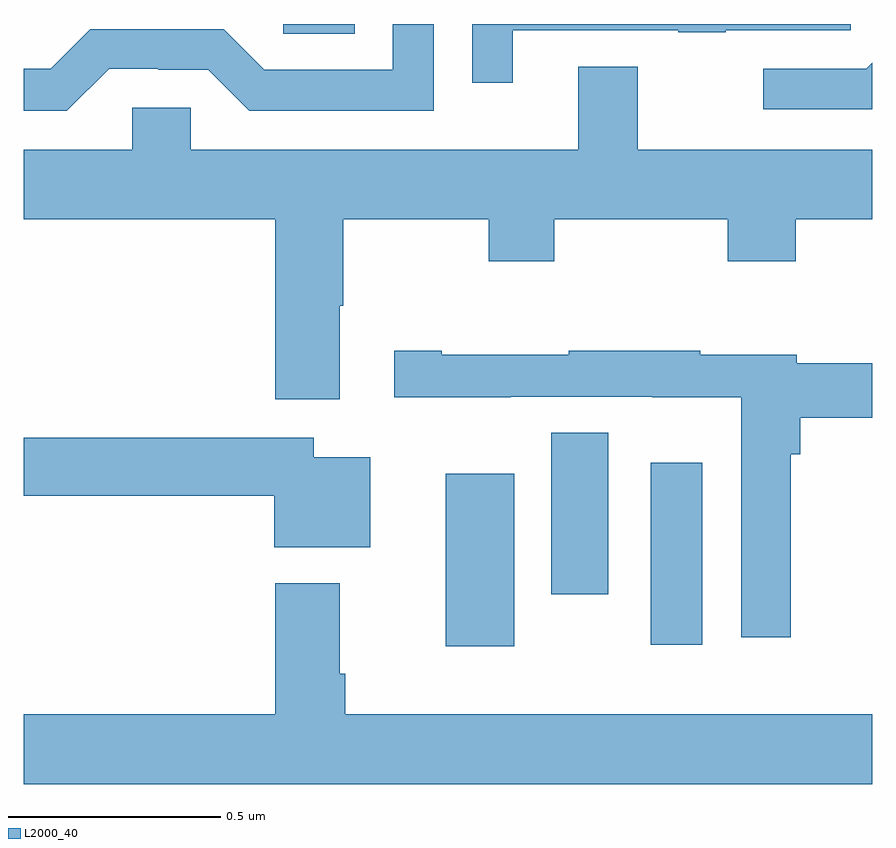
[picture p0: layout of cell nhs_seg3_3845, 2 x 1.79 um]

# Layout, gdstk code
import gdstk
lib = gdstk.Library(unit=1e-6, precision=1e-09)
def R(c, l, rs):  # rectangles x0, y0, x1, y1
    for r in rs: c.add(gdstk.rectangle(r[:2], r[2:], *l))
def P(c, l, *ps):  # polygons
    for p in ps: c.add(gdstk.Polygon(p, *l))
L2000_40 = (2000, 40)

nhs_seg3_3845 = lib.new_cell('nhs_seg3_3845')
R(nhs_seg3_3845, L2000_40, [(159.995,675.933,160.156,676.339), (160.478,675.936,160.6,676.366), (160.244,676.056,160.378,676.436), (159.612,677.377,159.78,677.4)])
P(nhs_seg3_3845, L2000_40, [(160.153,677.385),(160.543,677.385),(160.543,677.38),(160.655,677.38),(160.655,677.385),(160.95,677.385),(160.95,677.4),(160.057,677.4),(160.057,677.262),(160.153,677.262)],
  [(159.201,677.295),(159.317,677.295),(159.317,677.292),(159.435,677.292),(159.531,677.196),(159.966,677.196),(159.966,677.4),(159.87,677.4),(159.87,677.292),(159.567,677.292),(159.471,677.388),(159.156,677.388),(159.063,677.295),(159,677.295),(159,677.195),(159.101,677.195)],
  [(161,677.309),(160.986,677.295),(160.743,677.295),(160.743,677.199),(161,677.199)],
  [(159.745,676.736),(159.753,676.736),(159.753,676.94),(160.096,676.94),(160.096,676.841),(160.251,676.841),(160.251,676.94),(160.66,676.94),(160.66,676.841),(160.82,676.841),(160.82,676.94),(161,676.94),(161,677.104),(160.447,677.104),(160.447,677.299),(160.307,677.299),(160.307,677.104),(159.393,677.104),(159.393,677.202),(159.255,677.202),(159.255,677.104),(159,677.104),(159,676.94),(159.593,676.94),(159.593,676.515),(159.745,676.515)],
  [(160.808,676.385),(160.83,676.385),(160.83,676.471),(161,676.471),(161,676.6),(160.822,676.6),(160.822,676.62),(160.595,676.62),(160.595,676.63),(160.285,676.63),(160.285,676.62),(159.985,676.62),(159.985,676.63),(159.873,676.63),(159.873,676.52),(160.148,676.52),(160.148,676.521),(160.482,676.521),(160.482,676.52),(160.692,676.52),(160.692,675.954),(160.808,675.954)],
  [(159.817,676.378),(159.684,676.378),(159.684,676.424),(159,676.424),(159,676.288),(159.59,676.288),(159.59,676.166),(159.817,676.166)],
  [(161,675.772),(159.758,675.772),(159.758,675.868),(159.745,675.868),(159.745,676.081),(159.593,676.081),(159.593,675.772),(159,675.772),(159,675.608),(161,675.608)])

lib.write_gds('nhs_seg3_3845.gds')
